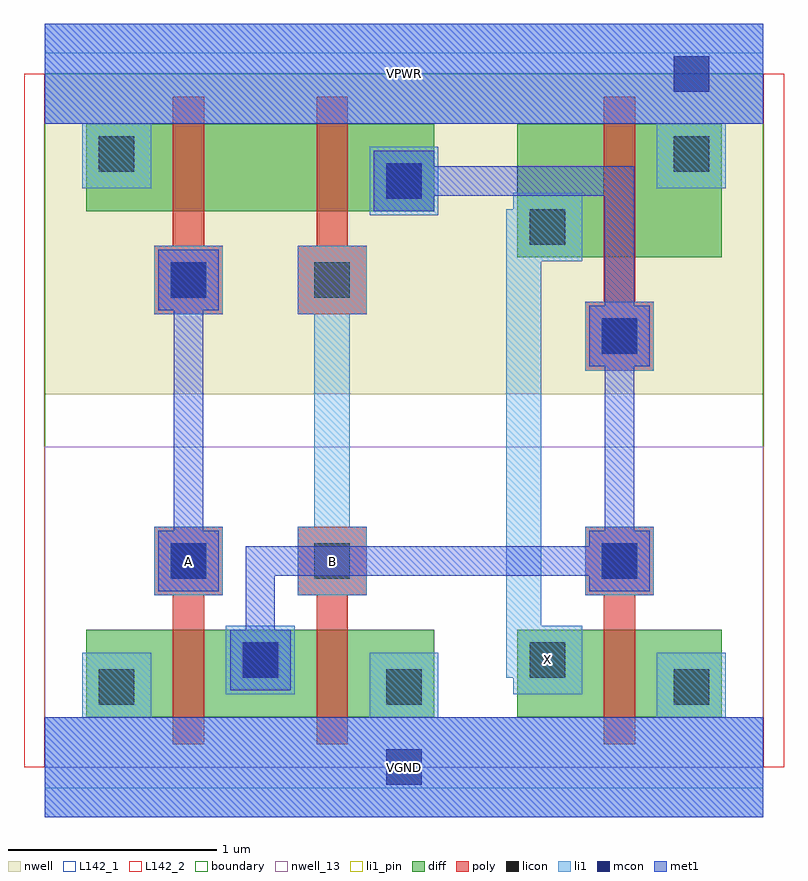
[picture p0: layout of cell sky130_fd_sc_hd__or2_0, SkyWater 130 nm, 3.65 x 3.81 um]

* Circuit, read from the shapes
.subckt sky130_fd_sc_hd__or2_0 A B VGND VPWR X
XM1 n1 A VGND VSUBS sky130_fd_pr__nfet_01v8 w=0.42 l=0.15
XM2 VGND B n1 VSUBS sky130_fd_pr__nfet_01v8 w=0.42 l=0.15
XM3 VGND n1 X VSUBS sky130_fd_pr__nfet_01v8 w=0.42 l=0.15
XM4 n2 A VPWR n3 sky130_fd_pr__pfet_01v8 w=0.42 l=0.15
XM5 n1 B n2 n3 sky130_fd_pr__pfet_01v8 w=0.42 l=0.15
XM6 VPWR n1 X n3 sky130_fd_pr__pfet_01v8 w=0.64 l=0.15
.ends

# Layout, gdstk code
import gdstk
lib = gdstk.Library(unit=1e-6, precision=1e-09)
def R(c, l, rs):  # rectangles x0, y0, x1, y1
    for r in rs: c.add(gdstk.rectangle(r[:2], r[2:], *l))
def A(c, l, x, y, w, h, nx, ny, dx, dy):  # array of equal rectangles
    R(c, l, [(x+i*dx, y+j*dy, x+i*dx+w, y+j*dy+h) for i in range(nx) for j in range(ny)])
def P(c, l, *ps):  # polygons
    for p in ps: c.add(gdstk.Polygon(p, *l))
nwell_13 = (64, 13)
nwell = (64, 20)
diff = (65, 20)
poly = (66, 20)
licon = (66, 44)
li1_pin = (67, 16)
li1 = (67, 20)
mcon = (67, 44)
met1 = (68, 20)
L142_1 = (142, 1)
L142_2 = (142, 2)
boundary = (235, 4)

sky130_fd_sc_hd__or2_0 = lib.new_cell('sky130_fd_sc_hd__or2_0')
R(sky130_fd_sc_hd__or2_0, nwell_13, [(0,0,3.45,1.54)])
R(sky130_fd_sc_hd__or2_0, nwell, [(0,1.79,3.45,3.33)])
R(sky130_fd_sc_hd__or2_0, diff, [(0.2,0.24,1.87,0.66), (0.2,0.24,0.615,0.66), (0.615,0.24,1.305,0.66), (1.305,0.24,1.87,0.66), (2.27,0.24,3.25,0.66), (2.27,0.24,2.685,0.66), (2.685,0.24,3.25,0.66), (2.27,2.45,3.25,3.09), (2.27,2.45,2.685,3.09), (2.685,2.45,3.25,3.09), (0.2,2.67,1.87,3.09), (0.2,2.67,0.615,3.09), (0.615,2.67,1.305,3.09), (1.305,2.67,1.87,3.09)])
P(sky130_fd_sc_hd__or2_0, poly, [(1.305,0.11),(1.305,0.825),(1.215,0.825),(1.215,1.155),(1.545,1.155),(1.545,0.825),(1.455,0.825),(1.455,0.11)],
  [(1.215,2.175),(1.215,2.505),(1.305,2.505),(1.305,3.22),(1.455,3.22),(1.455,2.505),(1.545,2.505),(1.545,2.175)],
  [(2.685,0.11),(2.685,0.825),(2.595,0.825),(2.595,1.155),(2.925,1.155),(2.925,0.825),(2.835,0.825),(2.835,0.11)],
  [(2.595,1.905),(2.595,2.235),(2.685,2.235),(2.685,3.22),(2.835,3.22),(2.835,2.235),(2.925,2.235),(2.925,1.905)],
  [(0.615,0.11),(0.615,0.825),(0.525,0.825),(0.525,1.155),(0.855,1.155),(0.855,0.825),(0.765,0.825),(0.765,0.11)],
  [(0.525,2.175),(0.525,2.505),(0.615,2.505),(0.615,3.22),(0.765,3.22),(0.765,2.505),(0.855,2.505),(0.855,2.175)])
A(sky130_fd_sc_hd__or2_0, licon, 0.26, 0.3, 0.17, 0.17, 3, 1, 1.38, 0)
R(sky130_fd_sc_hd__or2_0, licon, [(0.95,0.43,1.12,0.6), (2.33,0.43,2.5,0.6), (0.605,0.905,0.775,1.075), (1.295,0.905,1.465,1.075), (2.675,0.905,2.845,1.075), (2.675,1.985,2.845,2.155), (0.605,2.255,0.775,2.425), (1.295,2.255,1.465,2.425), (2.33,2.51,2.5,2.68), (1.64,2.73,1.81,2.9), (0.26,2.86,0.43,3.03), (3.02,2.86,3.19,3.03)])
R(sky130_fd_sc_hd__or2_0, li1_pin, [(0,-0.24,3.45,0.24), (0.525,0.825,0.855,1.155), (0,3.09,3.45,3.57)])
P(sky130_fd_sc_hd__or2_0, li1_pin, [(2.25,0.35),(2.25,0.43),(2.215,0.43),(2.215,2.68),(2.25,2.68),(2.25,2.76),(2.58,2.76),(2.58,2.43),(2.385,2.43),(2.385,0.68),(2.58,0.68),(2.58,0.35)],
  [(1.215,0.825),(1.215,1.155),(1.295,1.155),(1.295,2.175),(1.215,2.175),(1.215,2.505),(1.545,2.505),(1.545,2.175),(1.465,2.175),(1.465,1.155),(1.545,1.155),(1.545,0.825)])
R(sky130_fd_sc_hd__or2_0, li1, [(0.87,0.35,1.2,0.68), (0.525,0.825,0.855,1.155), (2.595,0.825,2.925,1.155), (2.595,1.905,2.925,2.235), (0.525,2.175,0.855,2.505), (1.56,2.65,1.89,2.98)])
P(sky130_fd_sc_hd__or2_0, li1, [(1.215,0.825),(1.215,1.155),(1.295,1.155),(1.295,2.175),(1.215,2.175),(1.215,2.505),(1.545,2.505),(1.545,2.175),(1.465,2.175),(1.465,1.155),(1.545,1.155),(1.545,0.825)],
  [(0.18,2.78),(0.18,3.09),(0,3.09),(0,3.57),(3.45,3.57),(3.45,3.09),(3.27,3.09),(3.27,2.78),(2.94,2.78),(2.94,3.09),(0.51,3.09),(0.51,2.78)],
  [(0,-0.24),(0,0.24),(0.18,0.24),(0.18,0.55),(0.51,0.55),(0.51,0.24),(1.56,0.24),(1.56,0.55),(1.89,0.55),(1.89,0.24),(2.94,0.24),(2.94,0.55),(3.27,0.55),(3.27,0.24),(3.45,0.24),(3.45,-0.24)],
  [(2.25,0.35),(2.25,0.43),(2.215,0.43),(2.215,2.68),(2.25,2.68),(2.25,2.76),(2.58,2.76),(2.58,2.43),(2.385,2.43),(2.385,0.68),(2.58,0.68),(2.58,0.35)])
R(sky130_fd_sc_hd__or2_0, mcon, [(1.64,-0.085,1.81,0.085), (0.95,0.43,1.12,0.6), (0.605,0.905,0.775,1.075), (2.675,0.905,2.845,1.075), (2.675,1.985,2.845,2.155), (0.605,2.255,0.775,2.425), (1.64,2.73,1.81,2.9), (3.02,3.245,3.19,3.415)])
R(sky130_fd_sc_hd__or2_0, met1, [(0,-0.24,3.45,0.24), (0,3.09,3.45,3.57)])
P(sky130_fd_sc_hd__or2_0, met1, [(0.89,0.37),(0.89,0.66),(0.965,0.66),(0.965,1.06),(2.615,1.06),(2.615,1.135),(2.69,1.135),(2.69,1.925),(2.615,1.925),(2.615,2.215),(2.69,2.215),(2.69,2.745),(1.87,2.745),(1.87,2.67),(1.58,2.67),(1.58,2.96),(1.87,2.96),(1.87,2.885),(2.83,2.885),(2.83,2.215),(2.905,2.215),(2.905,1.925),(2.83,1.925),(2.83,1.135),(2.905,1.135),(2.905,0.845),(2.615,0.845),(2.615,0.92),(1.105,0.92),(1.105,0.66),(1.18,0.66),(1.18,0.37)],
  [(0.545,0.845),(0.545,1.135),(0.62,1.135),(0.62,2.195),(0.545,2.195),(0.545,2.485),(0.835,2.485),(0.835,2.195),(0.76,2.195),(0.76,1.135),(0.835,1.135),(0.835,0.845)])
R(sky130_fd_sc_hd__or2_0, L142_1, [(0,-0.1,3.45,0), (0,3.33,3.45,3.43)])
R(sky130_fd_sc_hd__or2_0, L142_2, [(-0.1,0,0,3.33), (3.45,0,3.55,3.33)])
R(sky130_fd_sc_hd__or2_0, boundary, [(0,0,3.45,3.33)])
sky130_fd_sc_hd__or2_0.add(gdstk.Label('X', (2.415,0.515), layer=67, texttype=5))
sky130_fd_sc_hd__or2_0.add(gdstk.Label('B', (1.38,0.99), layer=67, texttype=5))
sky130_fd_sc_hd__or2_0.add(gdstk.Label('A', (0.69,0.99), layer=67, texttype=5))
sky130_fd_sc_hd__or2_0.add(gdstk.Label('VGND', (1.725,0), layer=67, texttype=5))
sky130_fd_sc_hd__or2_0.add(gdstk.Label('VPWR', (1.725,3.33), layer=67, texttype=5))
sky130_fd_sc_hd__or2_0.add(gdstk.Label('VGND', (1.725,0), layer=68, texttype=5))
sky130_fd_sc_hd__or2_0.add(gdstk.Label('VPWR', (1.725,3.33), layer=68, texttype=5))

lib.write_gds('sky130_fd_sc_hd__or2_0.gds')
